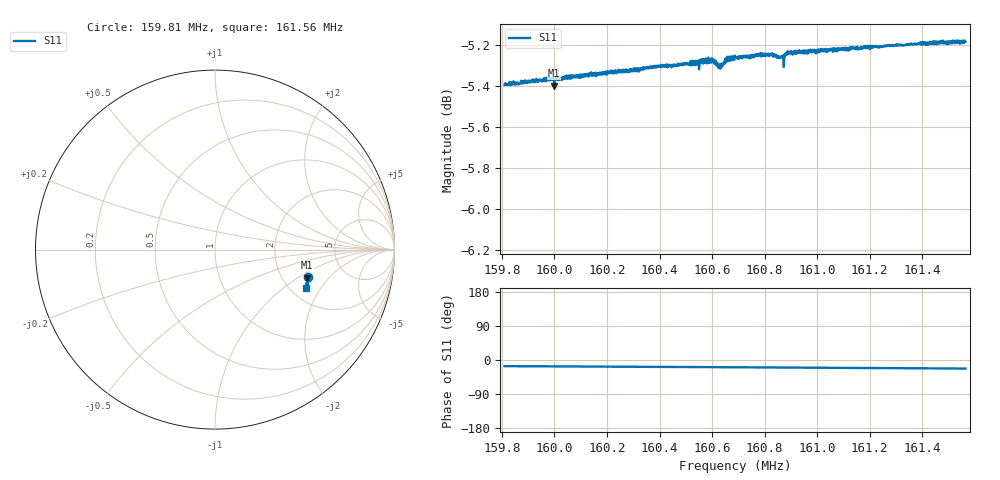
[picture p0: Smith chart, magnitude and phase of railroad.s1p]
! Calibrated averaged scanner-service zoom
# Hz S RI R 50
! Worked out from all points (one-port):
!   1001 points, 159.81 MHz to 161.56 MHz, reference 50 ohm
!   lowest |S11| = -5.4 dB at 160 MHz (marker M1), VSWR 3.32, Z = 136 - j60.1 ohm
!   |S11| at or under -10 dB: nowhere
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1.5981e8  0.5158 -0.1503
1.598574e8  0.5162 -0.1518
1.599802e8  0.5158 -0.1554
1.599995e8  0.5137 -0.1568
1.600294e8  0.516 -0.1573
1.602488e8  0.5155 -0.1646
1.603154e8  0.5151 -0.1666
1.604032e8  0.5157 -0.1698
1.604681e8  0.5152 -0.1721
1.605401e8  0.5158 -0.1743
1.605436e8  0.5148 -0.1743
1.605927e8  0.5158 -0.176
1.606068e8  0.5157 -0.1763
1.606226e8  0.5143 -0.1754
1.606313e8  0.513 -0.1756
1.606577e8  0.5159 -0.1783
1.606875e8  0.5158 -0.1795
1.607524e8  0.5147 -0.1817
1.60777e8  0.515 -0.1827
1.608226e8  0.5148 -0.1841
1.608648e8  0.5128 -0.1868
1.60877e8  0.5131 -0.1864
1.608893e8  0.5144 -0.1866
1.609069e8  0.5134 -0.1871
1.611262e8  0.5122 -0.1949
1.613456e8  0.5109 -0.203
1.614667e8  0.51 -0.2074
1.61565e8  0.5083 -0.2112
